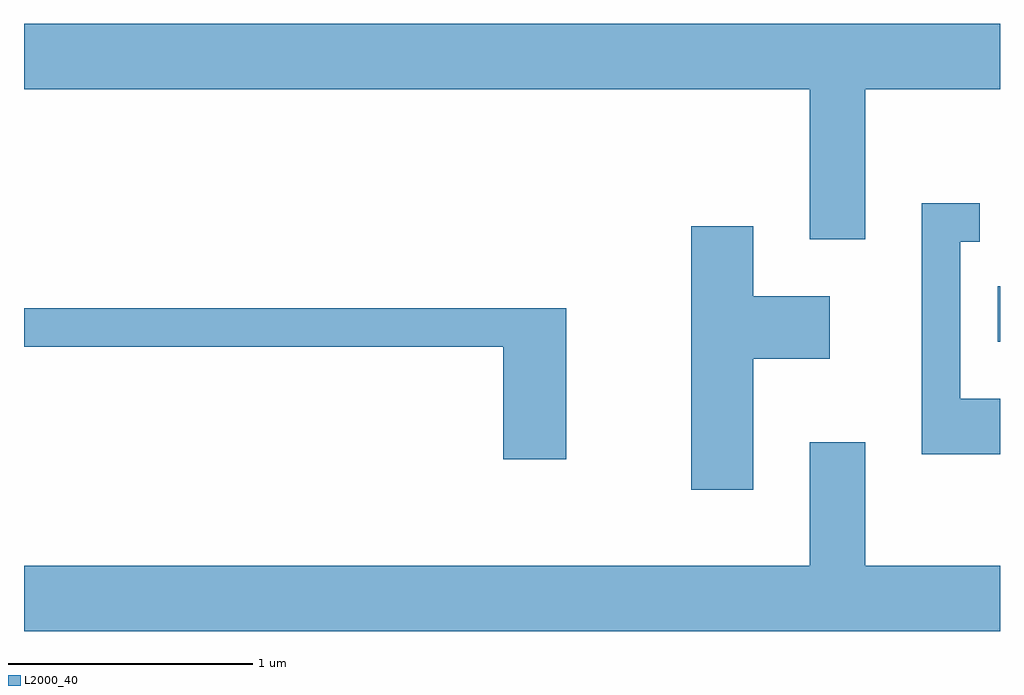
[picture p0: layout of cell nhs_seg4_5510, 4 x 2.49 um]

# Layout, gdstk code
import gdstk
lib = gdstk.Library(unit=1e-6, precision=1e-09)
def R(c, l, rs):  # rectangles x0, y0, x1, y1
    for r in rs: c.add(gdstk.rectangle(r[:2], r[2:], *l))
def P(c, l, *ps):  # polygons
    for p in ps: c.add(gdstk.Polygon(p, *l))
L2000_40 = (2000, 40)

nhs_seg4_5510 = lib.new_cell('nhs_seg4_5510')
R(nhs_seg4_5510, L2000_40, [(351.601,1260.401,351.611,1260.629)])
P(nhs_seg4_5510, L2000_40, [(351.059,1261.436),(351.611,1261.436),(351.611,1261.704),(347.611,1261.704),(347.611,1261.436),(350.831,1261.436),(350.831,1260.821),(351.059,1260.821)],
  [(351.611,1260.169),(351.449,1260.169),(351.449,1260.811),(351.528,1260.811),(351.528,1260.969),(351.291,1260.969),(351.291,1259.941),(351.611,1259.941)],
  [(350.599,1260.331),(350.914,1260.331),(350.914,1260.589),(350.599,1260.589),(350.599,1260.874),(350.346,1260.874),(350.346,1259.796),(350.599,1259.796)],
  [(349.834,1260.539),(347.611,1260.539),(347.611,1260.381),(349.576,1260.381),(349.576,1259.921),(349.834,1259.921)],
  [(351.611,1259.484),(351.059,1259.484),(351.059,1259.989),(350.831,1259.989),(350.831,1259.484),(347.611,1259.484),(347.611,1259.216),(351.611,1259.216)])

lib.write_gds('nhs_seg4_5510.gds')
